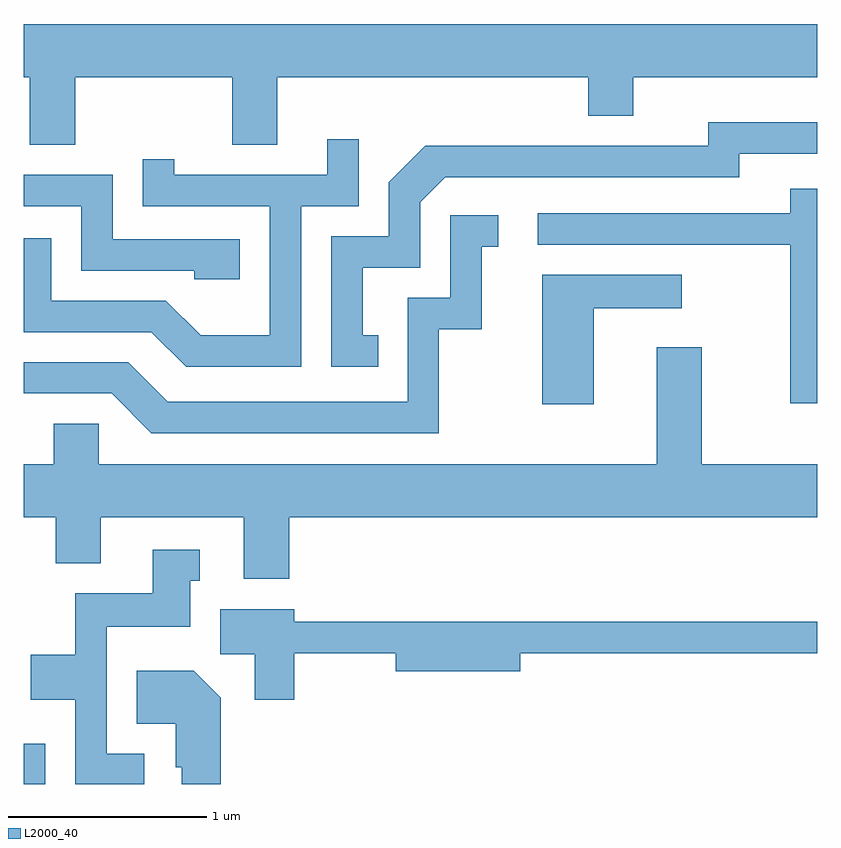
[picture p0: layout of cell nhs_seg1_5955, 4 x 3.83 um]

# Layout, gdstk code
import gdstk
lib = gdstk.Library(unit=1e-6, precision=1e-09)
def R(c, l, rs):  # rectangles x0, y0, x1, y1
    for r in rs: c.add(gdstk.rectangle(r[:2], r[2:], *l))
def P(c, l, *ps):  # polygons
    for p in ps: c.add(gdstk.Polygon(p, *l))
L2000_40 = (2000, 40)

nhs_seg1_5955 = lib.new_cell('nhs_seg1_5955')
R(nhs_seg1_5955, L2000_40, [(363.611,973.712,363.719,973.914)])
P(nhs_seg1_5955, L2000_40, [(363.869,977.276),(364.661,977.276),(364.661,976.936),(364.889,976.936),(364.889,977.276),(366.456,977.276),(366.456,977.081),(366.684,977.081),(366.684,977.276),(367.611,977.276),(367.611,977.544),(363.611,977.544),(363.611,977.276),(363.641,977.276),(363.641,976.936),(363.869,976.936)],
  [(365.398,975.974),(365.319,975.974),(365.319,976.316),(365.609,976.316),(365.609,976.644),(365.737,976.771),(367.219,976.771),(367.219,976.891),(367.611,976.891),(367.611,977.049),(367.061,977.049),(367.061,976.929),(365.634,976.929),(365.451,976.747),(365.451,976.474),(365.161,976.474),(365.161,975.816),(365.398,975.816)],
  [(365.009,976.626),(365.299,976.626),(365.299,976.963),(365.141,976.963),(365.141,976.784),(364.369,976.784),(364.369,976.863),(364.211,976.863),(364.211,976.626),(364.851,976.626),(364.851,975.974),(364.502,975.974),(364.327,976.149),(363.749,976.149),(363.749,976.464),(363.611,976.464),(363.611,975.991),(364.254,975.991),(364.429,975.816),(365.009,975.816)],
  [(364.699,976.459),(364.059,976.459),(364.059,976.784),(363.611,976.784),(363.611,976.626),(363.901,976.626),(363.901,976.301),(364.471,976.301),(364.471,976.256),(364.699,976.256)],
  [(367.611,976.713),(367.476,976.713),(367.476,976.589),(366.203,976.589),(366.203,976.431),(367.476,976.431),(367.476,975.633),(367.611,975.633)],
  [(365.704,976.006),(365.919,976.006),(365.919,976.421),(366.003,976.421),(366.003,976.579),(365.761,976.579),(365.761,976.164),(365.546,976.164),(365.546,975.639),(364.337,975.639),(364.137,975.839),(363.611,975.839),(363.611,975.681),(364.054,975.681),(364.254,975.481),(365.704,975.481)],
  [(366.484,976.111),(366.928,976.111),(366.928,976.279),(366.226,976.279),(366.226,975.626),(366.484,975.626)],
  [(364.949,975.056),(367.611,975.056),(367.611,975.324),(367.029,975.324),(367.029,975.914),(366.801,975.914),(366.801,975.324),(363.989,975.324),(363.989,975.529),(363.761,975.529),(363.761,975.324),(363.611,975.324),(363.611,975.056),(363.771,975.056),(363.771,974.826),(363.999,974.826),(363.999,975.056),(364.721,975.056),(364.721,974.746),(364.949,974.746)],
  [(364.218,973.864),(364.029,973.864),(364.029,974.506),(364.449,974.506),(364.449,974.736),(364.498,974.736),(364.498,974.894),(364.261,974.894),(364.261,974.674),(363.871,974.674),(363.871,974.364),(363.646,974.364),(363.646,974.136),(363.871,974.136),(363.871,973.712),(364.218,973.712)],
  [(364.974,974.371),(365.486,974.371),(365.486,974.281),(366.114,974.281),(366.114,974.371),(367.611,974.371),(367.611,974.529),(364.974,974.529),(364.974,974.594),(364.601,974.594),(364.601,974.366),(364.776,974.366),(364.776,974.136),(364.974,974.136)],
  [(364.604,974.147),(364.467,974.284),(364.181,974.284),(364.181,974.016),(364.376,974.016),(364.376,973.796),(364.406,973.796),(364.406,973.712),(364.604,973.712)])

lib.write_gds('nhs_seg1_5955.gds')
